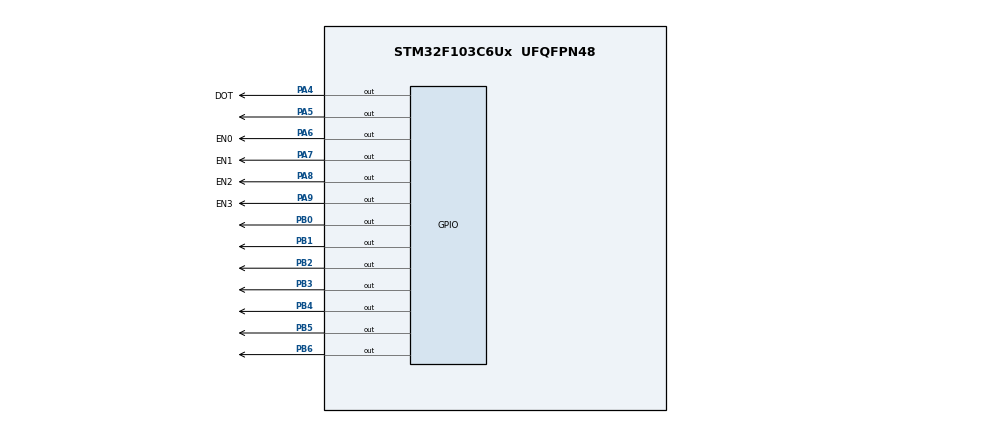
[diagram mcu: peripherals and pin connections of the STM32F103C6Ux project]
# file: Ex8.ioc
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Mcu.Family=STM32F1
Mcu.Name=STM32F103C6Ux
Mcu.Package=UFQFPN48
NVIC.PriorityGroup=NVIC_PRIORITYGROUP_4
NVIC.TIM2_IRQn=true\:0\:0\:false\:false\:true\:true\:true
PA4.GPIO_Label=DOT
PA4.Signal=GPIO_Output
PA5.Signal=GPIO_Output
PA6.GPIO_Label=EN0
PA6.Signal=GPIO_Output
PA7.GPIO_Label=EN1
PA7.Signal=GPIO_Output
PA8.GPIO_Label=EN2
PA8.Signal=GPIO_Output
PA9.GPIO_Label=EN3
PA9.Signal=GPIO_Output
PB0.Signal=GPIO_Output
PB1.Signal=GPIO_Output
PB2.Signal=GPIO_Output
PB3.Signal=GPIO_Output
PB4.Signal=GPIO_Output
PB5.Signal=GPIO_Output
PB6.Signal=GPIO_Output
ProjectManager.HeapSize=0x200
ProjectManager.StackSize=0x400
ProjectManager.TargetToolchain=STM32CubeIDE
RCC.APB1Freq_Value=8000000
RCC.APB2Freq_Value=8000000
TIM2.Period=10
TIM2.Prescaler=7999
VP_SYS_VS_ND.Mode=No_Debug
VP_TIM2_VS_ClockSourceINT.Mode=Internal
board=custom

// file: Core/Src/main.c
/* USER CODE BEGIN Header */
/**
 ******************************************************************************
 * @file           : main.c
 * @brief          : Main program body
 ******************************************************************************
 * @attention
 *
 * <h2><center>&copy; Copyright (c) 2022 STMicroelectronics.
 * All rights reserved.</center></h2>
 *
 * This software component is licensed by ST under BSD 3-Clause license,
 * the "License"; You may not use this file except in compliance with the
 * License. You may obtain a copy of the License at:
 *                        opensource.org/licenses/BSD-3-Clause
 *
 ******************************************************************************
 */
/* USER CODE END Header */
#include "main.h"

/* USER CODE BEGIN Includes */
#include "software_timer.h"
/* USER CODE END Includes */

TIM_HandleTypeDef htim2;

void SystemClock_Config(void);
static void MX_TIM2_Init(void);
static void MX_GPIO_Init(void);

int main(void) {

	/* MCU Configuration--------------------------------------------------------*/

	/* Reset of all peripherals, Initializes the Flash interface and the Systick. */
	HAL_Init();

	/* Configure the system clock */
	SystemClock_Config();

	/* Initialize all configured peripherals */
	MX_TIM2_Init();
	MX_GPIO_Init();
	/* USER CODE BEGIN 2 */
	HAL_TIM_Base_Start_IT(&htim2);

	void display7SEG(int num, GPIO_TypeDef *GPIOx, uint16_t start_index) {
		__IO uint16_t temp;
		switch (num) {
		case 0:
			temp = 0b1000000;
			break;
		case 1:
			temp = 0b1111001;
			break;
		case 2:
			temp = 0b0100100;
			break;
		case 3:
			temp = 0b0110000;
			break;
		case 4:
			temp = 0b0011001;
			break;
		case 5:
			temp = 0b0010010;
			break;
		case 6:
			temp = 0b0000010;
			break;
		case 7:
			temp = 0b1111000;
			break;
		case 8:
			temp = 0b0;
			break;
		case 9:
			temp = 0b0010000;
			break;
		default:
			temp = !0b0;
			break;
		}
		uint16_t bitmask = 0b1111111 << start_index;
		GPIOx->ODR = (GPIOx->ODR & ~bitmask) | (temp << start_index);
	}

	int hour = 15, minute = 8, second = 50;
	int led_buffer[4] = { 1, 2, 4, 5 };
	int index_led = 0;
	// Set bit en 1..4
	void setEnable(uint16_t num) {
		uint16_t bitmask = 0xf << 6;
		GPIOA->ODR = (GPIOA->ODR & ~bitmask) | (~(1 << num) << 6);

	}

	void update7SEG(int index) {
		switch (index) {
		case 0:
			setEnable(0);
			display7SEG(led_buffer[index], GPIOB, 0);
			break;
		case 1:
			setEnable(1);
			display7SEG(led_buffer[index], GPIOB, 0);
			break;
		case 2:
			setEnable(2);
			display7SEG(led_buffer[index], GPIOB, 0);
			break;
		case 3:
			setEnable(3);
			display7SEG(led_buffer[index], GPIOB, 0);
			break;
		default:
			break;
		}
//		display7SEG(led_buffer[index], GPIOB, 0);
	}
	void updateClockBuffer() {
		led_buffer[0] = hour / 10;
		led_buffer[1] = hour % 10;
		led_buffer[2] = minute / 10;
		led_buffer[3] = minute % 10;
	}
	/* USER CODE END 2 */

	/* Infinite loop */
	/* USER CODE BEGIN WHILE */
	setTimer1(500);
	int half_sec = 0;
	while (1) {
		if (timer1_flag == 1) {
			setTimer1(500);
			half_sec++;
			if (half_sec == 2) {
				second++;
				if (second >= 60) {
					second = 0;
					minute++;
				}
				if (minute >= 60) {
					minute = 0;
					hour++;
				}
				if (hour >= 24) {
					hour = 0;
				}
				updateClockBuffer();
				HAL_GPIO_TogglePin(DOT_GPIO_Port, DOT_Pin);
				HAL_GPIO_TogglePin(GPIOA, GPIO_PIN_5);

				half_sec = 0;
			}
			update7SEG(index_led++);
		}
		if (index_led > 3)
			index_led = 0;
		/* USER CODE END WHILE */

	}
}

void SystemClock_Config(void) {
	RCC_OscInitTypeDef RCC_OscInitStruct = { 0 };
	RCC_ClkInitTypeDef RCC_ClkInitStruct = { 0 };

	/** Initializes the RCC Oscillators according to the specified parameters
	 * in the RCC_OscInitTypeDef structure.
	 */
	RCC_OscInitStruct.OscillatorType = RCC_OSCILLATORTYPE_HSI;
	RCC_OscInitStruct.HSIState = RCC_HSI_ON;
	RCC_OscInitStruct.HSICalibrationValue = RCC_HSICALIBRATION_DEFAULT;
	RCC_OscInitStruct.PLL.PLLState = RCC_PLL_NONE;
	if (HAL_RCC_OscConfig(&RCC_OscInitStruct) != HAL_OK) {
		Error_Handler();
	}
	/** Initializes the CPU, AHB and APB buses clocks
	 */
	RCC_ClkInitStruct.ClockType = RCC_CLOCKTYPE_HCLK | RCC_CLOCKTYPE_SYSCLK
			| RCC_CLOCKTYPE_PCLK1 | RCC_CLOCKTYPE_PCLK2;
	RCC_ClkInitStruct.SYSCLKSource = RCC_SYSCLKSOURCE_HSI;
	RCC_ClkInitStruct.AHBCLKDivider = RCC_SYSCLK_DIV1;
	RCC_ClkInitStruct.APB1CLKDivider = RCC_HCLK_DIV1;
	RCC_ClkInitStruct.APB2CLKDivider = RCC_HCLK_DIV1;

	if (HAL_RCC_ClockConfig(&RCC_ClkInitStruct, FLASH_LATENCY_0) != HAL_OK) {
		Error_Handler();
	}
}

static void MX_TIM2_Init(void) {

	TIM_ClockConfigTypeDef sClockSourceConfig = { 0 };
	TIM_MasterConfigTypeDef sMasterConfig = { 0 };

	htim2.Instance = TIM2;
	htim2.Init.Prescaler = 7999;
	htim2.Init.CounterMode = TIM_COUNTERMODE_UP;
	htim2.Init.Period = 10;
	htim2.Init.ClockDivision = TIM_CLOCKDIVISION_DIV1;
	htim2.Init.AutoReloadPreload = TIM_AUTORELOAD_PRELOAD_DISABLE;
	if (HAL_TIM_Base_Init(&htim2) != HAL_OK) {
		Error_Handler();
	}
	sClockSourceConfig.ClockSource = TIM_CLOCKSOURCE_INTERNAL;
	if (HAL_TIM_ConfigClockSource(&htim2, &sClockSourceConfig) != HAL_OK) {
		Error_Handler();
	}
	sMasterConfig.MasterOutputTrigger = TIM_TRGO_RESET;
	sMasterConfig.MasterSlaveMode = TIM_MASTERSLAVEMODE_DISABLE;
	if (HAL_TIMEx_MasterConfigSynchronization(&htim2, &sMasterConfig)
			!= HAL_OK) {
		Error_Handler();
	}

}

static void MX_GPIO_Init(void) {
	GPIO_InitTypeDef GPIO_InitStruct = { 0 };

	/* GPIO Ports Clock Enable */
	__HAL_RCC_GPIOA_CLK_ENABLE();
	__HAL_RCC_GPIOB_CLK_ENABLE();

	/*Configure GPIO pin Output Level */
	HAL_GPIO_WritePin(GPIOA,
	DOT_Pin | GPIO_PIN_5 | EN0_Pin | EN1_Pin | EN2_Pin | EN3_Pin,
			GPIO_PIN_RESET);

	/*Configure GPIO pin Output Level */
	HAL_GPIO_WritePin(GPIOB,
			GPIO_PIN_0 | GPIO_PIN_1 | GPIO_PIN_2 | GPIO_PIN_3 | GPIO_PIN_4
					| GPIO_PIN_5 | GPIO_PIN_6, GPIO_PIN_RESET);

	/*Configure GPIO pins : DOT_Pin PA5 EN0_Pin EN1_Pin
	 EN2_Pin EN3_Pin */
	GPIO_InitStruct.Pin = DOT_Pin | GPIO_PIN_5 | EN0_Pin | EN1_Pin | EN2_Pin
			| EN3_Pin;
	GPIO_InitStruct.Mode = GPIO_MODE_OUTPUT_PP;
	GPIO_InitStruct.Pull = GPIO_NOPULL;
	GPIO_InitStruct.Speed = GPIO_SPEED_FREQ_LOW;
	HAL_GPIO_Init(GPIOA, &GPIO_InitStruct);

	/*Configure GPIO pins : PB0 PB1 PB2 PB3
	 PB4 PB5 PB6 */
	GPIO_InitStruct.Pin = GPIO_PIN_0 | GPIO_PIN_1 | GPIO_PIN_2 | GPIO_PIN_3
			| GPIO_PIN_4 | GPIO_PIN_5 | GPIO_PIN_6;
	GPIO_InitStruct.Mode = GPIO_MODE_OUTPUT_PP;
	GPIO_InitStruct.Pull = GPIO_NOPULL;
	GPIO_InitStruct.Speed = GPIO_SPEED_FREQ_LOW;
	HAL_GPIO_Init(GPIOB, &GPIO_InitStruct);

}

/* USER CODE BEGIN 4 */

void HAL_TIM_PeriodElapsedCallback(TIM_HandleTypeDef *htim) {
	timerRun();
}
/* USER CODE END 4 */

void Error_Handler(void) {
	__disable_irq();
	while (1) {
	}
}

/************************ (C) COPYRIGHT STMicroelectronics *****END OF FILE****/
